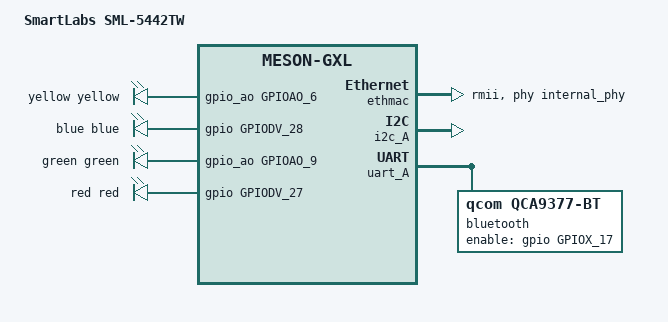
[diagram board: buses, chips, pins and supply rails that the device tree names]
// SPDX-License-Identifier: (GPL-2.0+ OR MIT)
/*
 * Copyright (c) Christian Hewitt <christianshewitt@gmail.com>
 */

/dts-v1/;

#include "meson-gxl-s905d.dtsi"
#include "meson-gx-p23x-q20x.dtsi"
#include <dt-bindings/leds/common.h>

/ {
	compatible = "smartlabs,sml5442tw", "amlogic,s905d", "amlogic,meson-gxl";
	model = "SmartLabs SML-5442TW";

	leds {
		compatible = "gpio-leds";

		yellow {
			color = <LED_COLOR_ID_YELLOW>;
			function = LED_FUNCTION_STATUS;
			gpios = <&gpio_ao GPIOAO_6 GPIO_ACTIVE_HIGH>;
			default-state = "off";
		};

		blue {
			color = <LED_COLOR_ID_BLUE>;
			function = LED_FUNCTION_STATUS;
			gpios = <&gpio GPIODV_28 GPIO_ACTIVE_HIGH>;
			default-state = "off";
		};

		green {
			color = <LED_COLOR_ID_GREEN>;
			function = LED_FUNCTION_STATUS;
			gpios = <&gpio_ao GPIOAO_9 GPIO_ACTIVE_HIGH>;
			default-state = "on";
		};

		red {
			color = <LED_COLOR_ID_RED>;
			function = LED_FUNCTION_STATUS;
			gpios = <&gpio GPIODV_27 GPIO_ACTIVE_HIGH>;
			default-state = "off";
		};
	};
};

&ethmac {
	status = "okay";
	phy-mode = "rmii";
	phy-handle = <&internal_phy>;
};

&i2c_A {
	status = "okay";
	pinctrl-0 = <&i2c_a_pins>;
	pinctrl-names = "default";
};

&internal_phy {
	pinctrl-0 = <&eth_link_led_pins>, <&eth_act_led_pins>;
	pinctrl-names = "default";
};

/* This is connected to the Bluetooth module: */
&uart_A {
	status = "okay";
	pinctrl-0 = <&uart_a_pins>, <&uart_a_cts_rts_pins>;
	pinctrl-names = "default";
	uart-has-rtscts;

	bluetooth {
		compatible = "qcom,qca9377-bt";
		enable-gpios = <&gpio GPIOX_17 GPIO_ACTIVE_HIGH>;
		max-speed = <2000000>;
		clocks = <&wifi32k>;
		clock-names = "lpo";
	};
};
